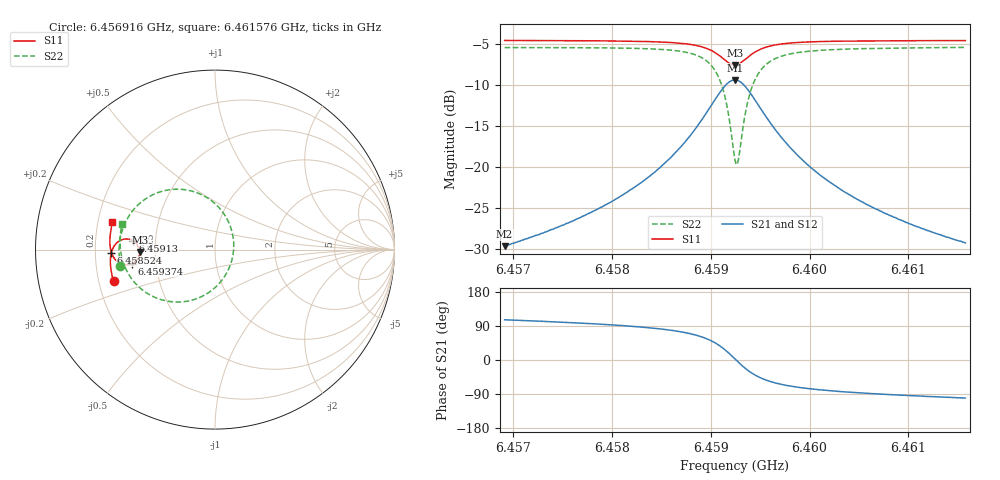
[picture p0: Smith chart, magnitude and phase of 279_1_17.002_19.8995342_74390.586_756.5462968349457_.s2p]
#  HZ  S  RI  R  50.00
! Rohde & Schwarz Vector Network Analyzer
! Rohde-Schwarz,ZNB20-2Port,1311601062101988,3.16
! Created: UTC 3/20/2024, 11:04:36 PM
! freq[Hz]  re:S11  im:S11  re:S21  im:S21  re:S12  im:S12  re:S22  im:S22
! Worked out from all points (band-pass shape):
!   401 points, 6.456916 GHz to 6.461576 GHz, reference 50 ohm
!   highest |S21| = -9.35 dB at 6.459246 GHz (marker M1); lowest = -29.6 dB at 6.456916 GHz (marker M2)
!   |S21| within 3 dB of the highest: 6.459012 GHz to 6.459479 GHz (466.6 kHz wide, 0.00722 % of centre)
!   lowest |S11| = -7.5 dB at 6.459246 GHz (marker M3), VSWR 2.45, Z = 20.4 - j0.653 ohm
!   |S11| at or under -10 dB: nowhere
!   |S22| runs from -19.6 to -5.4 dB; largest |S21 - S12| = 0.013
!   S11 on the Smith chart (normalised r, x): 6.456916 GHz: 0.26, -0.14; 6.458524 GHz: 0.27, -0.02; 6.45913 GHz: 0.37, +0.05; 6.459374 GHz: 0.37, -0.07; 6.461576 GHz: 0.26, +0.12
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6.4569158e9  -0.565 -0.1774  -0.00921 0.0318  -0.00759 0.0318  -0.5277 -0.0929
6.4576964e9  -0.5797 -0.1095  -0.00627 0.0497  -0.00375 0.0491  -0.5348 -0.00277
6.4581159e9  -0.5832 -0.0678  -0.000733 0.0683  0.00252 0.067  -0.5282 0.0624
6.4584771e9  -0.5796 -0.0251  0.0129 0.0977  0.017 0.0951  -0.5038 0.1424
6.4585237e9  -0.5782 -0.0188  0.0163 0.103  0.0202 0.1001  -0.4975 0.1554
6.4587334e9  -0.5662 0.0132  0.0419 0.1346  0.0461 0.13  -0.4502 0.2271
6.4588849e9  -0.5451 0.0396  0.084 0.1651  0.0874 0.1586  -0.3729 0.2916
6.4590364e9  -0.4994 0.0593  0.175 0.1843  0.1761 0.1769  -0.2072 0.3366
6.4591296e9  -0.4552 0.0493  0.264 0.1539  0.2644 0.1478  -0.0425 0.2883
6.4591762e9  -0.4344 0.0306  0.3074 0.1114  0.3086 0.1062  0.0396 0.2134
6.4592461e9  -0.4197 -0.0132  0.3404 0.0158  0.3439 0.00899  0.1043 0.0368
6.4592578e9  -0.4203 -0.0211  0.3403 -0.00164  0.3439 -0.00919  0.1042 0.00396
6.4592811e9  -0.4236 -0.0365  0.335 -0.0357  0.3385 -0.0448  0.0936 -0.0607
6.4593743e9  -0.461 -0.078  0.2656 -0.1355  0.2648 -0.1482  -0.0449 -0.2459
6.4594209e9  -0.4835 -0.0846  0.2222 -0.1575  0.2183 -0.17  -0.1319 -0.2825
6.4594791e9  -0.5083 -0.0838  0.1735 -0.1672  0.1672 -0.1779  -0.2273 -0.2919
6.4596306e9  -0.5492 -0.0621  0.0916 -0.1514  0.0834 -0.1573  -0.3827 -0.2403
6.4597937e9  -0.5695 -0.0348  0.0496 -0.1247  0.0423 -0.1271  -0.458 -0.1711
6.4600268e9  -0.581 -0.00101  0.0228 -0.0955  0.0171 -0.0963  -0.5023 -0.0948
6.4603996e9  -0.5857 0.0427  0.00625 -0.0679  0.00212 -0.0676  -0.5251 -0.0124
6.4608074e9  -0.5838 0.0833  -0.00106 -0.0511  -0.00383 -0.0502  -0.5291 0.0512
6.4615764e9  -0.5716 0.1511  -0.00614 -0.0341  -0.00803 -0.0332  -0.5185 0.1409
